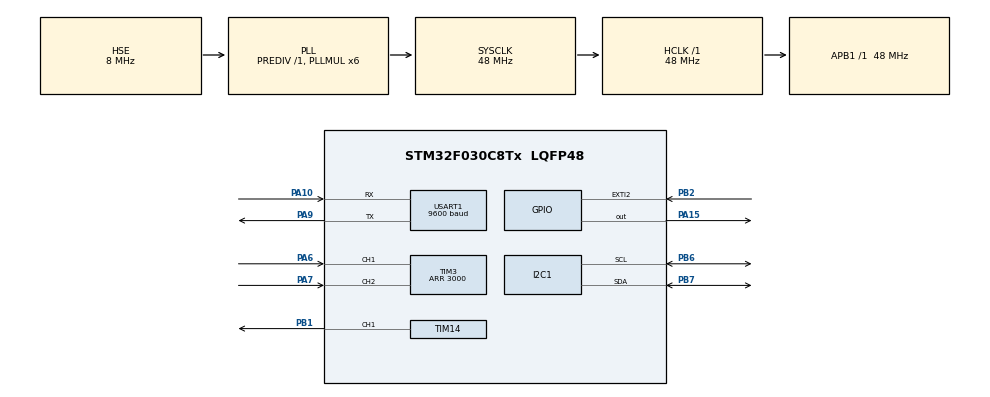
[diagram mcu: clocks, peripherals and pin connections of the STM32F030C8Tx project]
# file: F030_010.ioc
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FREERTOS.Tasks01=Encoder_change,0,128,Task_1_Enc,Default,NULL,Dynamic,NULL,NULL;Uart_change,-3,128,Task_2_uart,Default,NULL,Dynamic,NULL,NULL;Monitor,-3,128,Task_3_monitor,Default,NULL,Dynamic,NULL,NULL;AT_handler,-3,128,AT_HANDLER,Default,NULL,Dynamic,NULL,NULL;KlikKlack,-3,128,KLIK_KLACK,Default,NULL,Dynamic,NULL,NULL
FREERTOS.configTOTAL_HEAP_SIZE=3500
Mcu.Family=STM32F0
Mcu.Name=STM32F030C8Tx
Mcu.Package=LQFP48
NVIC.EXTI2_3_IRQn=true\:3\:0\:false\:false\:true\:true\:true\:true
NVIC.TIM1_BRK_UP_TRG_COM_IRQn=true\:0\:0\:false\:false\:true\:false\:false\:true
NVIC.TimeBase=TIM1_BRK_UP_TRG_COM_IRQn
NVIC.TimeBaseIP=TIM1
NVIC.USART1_IRQn=true\:3\:0\:false\:false\:true\:true\:true\:true
PA10.Mode=Asynchronous
PA10.Signal=USART1_RX
PA13.Mode=Serial_Wire
PA13.Signal=SYS_SWDIO
PA14.Mode=Serial_Wire
PA14.Signal=SYS_SWCLK
PA15.Signal=GPIO_Output
PA6.Signal=S_TIM3_CH1
PA7.Signal=S_TIM3_CH2
PA9.Mode=Asynchronous
PA9.Signal=USART1_TX
PB1.Signal=S_TIM14_CH1
PB2.GPIO_ModeDefaultEXTI=GPIO_MODE_IT_RISING
PB2.Signal=GPXTI2
PB6.Mode=I2C
PB6.Signal=I2C1_SCL
PB7.Mode=I2C
PB7.Signal=I2C1_SDA
PF0-OSC_IN.Mode=HSE-External-Oscillator
PF0-OSC_IN.Signal=RCC_OSC_IN
PF1-OSC_OUT.Mode=HSE-External-Oscillator
PF1-OSC_OUT.Signal=RCC_OSC_OUT
ProjectManager.HeapSize=0x200
ProjectManager.StackSize=0x400
ProjectManager.TargetToolchain=EWARM V8.32
RCC.AHBFreq_Value=48000000
RCC.APB1Freq_Value=48000000
RCC.APB1TimFreq_Value=48000000
RCC.HCLKFreq_Value=48000000
RCC.PLLMUL=RCC_PLL_MUL6
RCC.PLLSourceVirtual=RCC_PLLSOURCE_HSE
RCC.SYSCLKFreq_VALUE=48000000
RCC.SYSCLKSource=RCC_SYSCLKSOURCE_PLLCLK
SH.S_TIM14_CH1.0=TIM14_CH1,PWM Generation1 CH1
SH.S_TIM3_CH1.0=TIM3_CH1,Encoder_Interface
SH.S_TIM3_CH2.0=TIM3_CH2,Encoder_Interface
TIM14.Channel=TIM_CHANNEL_1
TIM14.Period=3000
TIM3.EncoderMode=TIM_ENCODERMODE_TI12
TIM3.IC1Polarity=TIM_ICPOLARITY_FALLING
TIM3.Period=3000
USART1.BaudRate=9600
USART1.VirtualMode-Asynchronous=VM_ASYNC
VP_FREERTOS_VS_CMSIS_V1.Mode=CMSIS_V1
VP_SYS_VS_tim1.Mode=TIM1
VP_TIM14_VS_ClockSourceINT.Mode=Enable_Timer
board=custom

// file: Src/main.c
/* USER CODE BEGIN Header */
/**
  ******************************************************************************
  * @file           : main.c
  * @brief          : Main program body
  ******************************************************************************
  * @attention
  *
  * <h2><center>&copy; Copyright (c) 2020 STMicroelectronics.
  * All rights reserved.</center></h2>
  *
  * This software component is licensed by ST under BSD 3-Clause license,
  * the "License"; You may not use this file except in compliance with the
  * License. You may obtain a copy of the License at:
  *                        opensource.org/licenses/BSD-3-Clause
  *
  ******************************************************************************
  */
/* USER CODE END Header */

#include "main.h"
#include "cmsis_os.h"
#include "i2c.h"
#include "tim.h"
#include "usart.h"
#include "gpio.h"

void SystemClock_Config(void);
void MX_FREERTOS_Init(void);

int main(void)
{

  /* MCU Configuration--------------------------------------------------------*/

  /* Reset of all peripherals, Initializes the Flash interface and the Systick. */
  HAL_Init();

  /* Configure the system clock */
  SystemClock_Config();

  /* Initialize all configured peripherals */
  MX_GPIO_Init();
  MX_TIM14_Init();
  MX_TIM3_Init();
  MX_USART1_UART_Init();
  MX_I2C1_Init();
  /* USER CODE BEGIN 2 */
 HAL_Delay(100);
 OLED_init();
  /* USER CODE END 2 */

  /* Call init function for freertos objects (in freertos.c) */
  MX_FREERTOS_Init();

  /* Start scheduler */
  osKernelStart();

  /* We should never get here as control is now taken by the scheduler */

  /* Infinite loop */
  while (1)
  {
   }

}

void SystemClock_Config(void)
{
  RCC_OscInitTypeDef RCC_OscInitStruct = {0};
  RCC_ClkInitTypeDef RCC_ClkInitStruct = {0};
  RCC_PeriphCLKInitTypeDef PeriphClkInit = {0};

  /** Initializes the CPU, AHB and APB busses clocks
  */
  RCC_OscInitStruct.OscillatorType = RCC_OSCILLATORTYPE_HSI|RCC_OSCILLATORTYPE_HSE;
  RCC_OscInitStruct.HSEState = RCC_HSE_ON;
  RCC_OscInitStruct.HSIState = RCC_HSI_ON;
  RCC_OscInitStruct.HSICalibrationValue = RCC_HSICALIBRATION_DEFAULT;
  RCC_OscInitStruct.PLL.PLLState = RCC_PLL_ON;
  RCC_OscInitStruct.PLL.PLLSource = RCC_PLLSOURCE_HSE;
  RCC_OscInitStruct.PLL.PLLMUL = RCC_PLL_MUL6;
  RCC_OscInitStruct.PLL.PREDIV = RCC_PREDIV_DIV1;
  if (HAL_RCC_OscConfig(&RCC_OscInitStruct) != HAL_OK)
  {
    Error_Handler();
  }
  /** Initializes the CPU, AHB and APB busses clocks
  */
  RCC_ClkInitStruct.ClockType = RCC_CLOCKTYPE_HCLK|RCC_CLOCKTYPE_SYSCLK
                              |RCC_CLOCKTYPE_PCLK1;
  RCC_ClkInitStruct.SYSCLKSource = RCC_SYSCLKSOURCE_PLLCLK;
  RCC_ClkInitStruct.AHBCLKDivider = RCC_SYSCLK_DIV1;
  RCC_ClkInitStruct.APB1CLKDivider = RCC_HCLK_DIV1;

  if (HAL_RCC_ClockConfig(&RCC_ClkInitStruct, FLASH_LATENCY_1) != HAL_OK)
  {
    Error_Handler();
  }
  PeriphClkInit.PeriphClockSelection = RCC_PERIPHCLK_USART1|RCC_PERIPHCLK_I2C1;
  PeriphClkInit.Usart1ClockSelection = RCC_USART1CLKSOURCE_PCLK1;
  PeriphClkInit.I2c1ClockSelection = RCC_I2C1CLKSOURCE_HSI;
  if (HAL_RCCEx_PeriphCLKConfig(&PeriphClkInit) != HAL_OK)
  {
    Error_Handler();
  }
}

void HAL_TIM_PeriodElapsedCallback(TIM_HandleTypeDef *htim)
{
  if (htim->Instance == TIM1) {
    HAL_IncTick();
  }
}

void Error_Handler(void)
{
}

/************************ (C) COPYRIGHT STMicroelectronics *****END OF FILE****/

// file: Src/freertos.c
/* USER CODE BEGIN Header */
/**
  ******************************************************************************
  * File Name          : freertos.c
  * Description        : Code for freertos applications
  ******************************************************************************
  * @attention
  *
  * <h2><center>&copy; Copyright (c) 2020 STMicroelectronics.
  * All rights reserved.</center></h2>
  *
  * This software component is licensed by ST under Ultimate Liberty license
  * SLA0044, the "License"; You may not use this file except in compliance with
  * the License. You may obtain a copy of the License at:
  *                             www.st.com/SLA0044
  *
  ******************************************************************************
  */
/* USER CODE END Header */

#include "FreeRTOS.h"
#include "task.h"
#include "main.h"
#include "cmsis_os.h"

/* USER CODE BEGIN Includes */
#include "i2c.h"
#include "tim.h"
#include "usart.h"
#include "gpio.h"
#include "1306_32.h"
#include <string.h>
#include <stdio.h>
#include "flash_setings.h"
#include <stdlib.h>
#include <stdbool.h>

/* USER CODE END Includes */

/* USER CODE BEGIN PTD */
osMessageQId RecQHandle;

#ifdef __GNUC__
/* With GCC, small printf (option LD Linker->Libraries->Small printf
   set to 'Yes') calls __io_putchar() */
#define PUTCHAR_PROTOTYPE int __io_putchar(int ch)
#else
#define PUTCHAR_PROTOTYPE int fputc(int ch, FILE *f)
#endif /* __GNUC__ */

/* USER CODE END PTD */

/* USER CODE BEGIN PD */
uint8_t b1;
uint8_t b2;
char g_buffer[257];
uint8_t data_i = 0;

typedef struct {
	uint8_t usart;
	uint8_t byte;
} myMes;

portBASE_TYPE           xHigherPriorityTaskWoken = pdFALSE;

void HAL_UART_RxCpltCallback(UART_HandleTypeDef *UartHandle)
{
        myMes m;
        m.usart=1;
        m.byte=b1;
        xQueueSendFromISR( RecQHandle, &m, &xHigherPriorityTaskWoken );
        HAL_UART_Receive_IT(&huart1, &b1,1);

}

bool boottonPress=false;
bool yesFlag=true;
/* USER CODE END PD */

/* USER CODE BEGIN Variables */
uint16_t capture=0;
uint8_t r202_out[8]={0xff,0xff,0xff,0xff,0xff,0xff,0xff,0xff};
extern ESettings Settings;

/* USER CODE END Variables */
osThreadId Encoder_changeHandle;
osThreadId Uart_changeHandle;
osThreadId MonitorHandle;
osThreadId AT_handlerHandle;
osThreadId KlikKlackHandle;

void Task_1_Enc(void const * argument);
void Task_2_uart(void const * argument);
void Task_3_monitor(void const * argument);
void AT_HANDLER(void const * argument);
void KLIK_KLACK(void const * argument);

void MX_FREERTOS_Init(void); /* (MISRA C 2004 rule 8.1) */

/* GetIdleTaskMemory prototype (linked to static allocation support) */
void vApplicationGetIdleTaskMemory( StaticTask_t **ppxIdleTaskTCBBuffer, StackType_t **ppxIdleTaskStackBuffer, uint32_t *pulIdleTaskStackSize );

/* USER CODE BEGIN GET_IDLE_TASK_MEMORY */
static StaticTask_t xIdleTaskTCBBuffer;
static StackType_t xIdleStack[configMINIMAL_STACK_SIZE];

void vApplicationGetIdleTaskMemory( StaticTask_t **ppxIdleTaskTCBBuffer, StackType_t **ppxIdleTaskStackBuffer, uint32_t *pulIdleTaskStackSize )
{
  *ppxIdleTaskTCBBuffer = &xIdleTaskTCBBuffer;
  *ppxIdleTaskStackBuffer = &xIdleStack[0];
  *pulIdleTaskStackSize = configMINIMAL_STACK_SIZE;
  /* place for user code */
}
/* USER CODE END GET_IDLE_TASK_MEMORY */

void MX_FREERTOS_Init(void) {

  /* USER CODE BEGIN RTOS_QUEUES */
   osMessageQDef(RecQ, 32, 2);
   RecQHandle = osMessageCreate(osMessageQ(RecQ), NULL);
  /* USER CODE END RTOS_QUEUES */

  /* Create the thread(s) */
  /* definition and creation of Encoder_change */
  osThreadDef(Encoder_change, Task_1_Enc, osPriorityNormal, 0, 128);
  Encoder_changeHandle = osThreadCreate(osThread(Encoder_change), NULL);

  /* definition and creation of Uart_change */
  osThreadDef(Uart_change, Task_2_uart, osPriorityIdle, 0, 128);
  Uart_changeHandle = osThreadCreate(osThread(Uart_change), NULL);

  /* definition and creation of Monitor */
  osThreadDef(Monitor, Task_3_monitor, osPriorityIdle, 0, 128);
  MonitorHandle = osThreadCreate(osThread(Monitor), NULL);

  /* definition and creation of AT_handler */
  osThreadDef(AT_handler, AT_HANDLER, osPriorityIdle, 0, 128);
  AT_handlerHandle = osThreadCreate(osThread(AT_handler), NULL);

  /* definition and creation of KlikKlack */
  osThreadDef(KlikKlack, KLIK_KLACK, osPriorityIdle, 0, 128);
  KlikKlackHandle = osThreadCreate(osThread(KlikKlack), NULL);

}

uint16_t captureOld=0;
uint16_t test_volt=0;
void Task_1_Enc(void const * argument)
{
  /* USER CODE BEGIN Task_1_Enc */
HAL_TIM_PWM_Start_IT(&htim14, TIM_CHANNEL_1);
HAL_TIM_Encoder_Start(&htim3, TIM_CHANNEL_ALL);
if(CheckEEprom()) restoreSettings();
TIM3->CNT=Settings.DefPrest.AdrData.data/Settings.Speed.AdrData.data;
  /* Infinite loop */
  for(;;)
  {
   capture=TIM3->CNT;

 if(captureOld!=capture)
 {
   if(capture>=2999)
   {
   TIM3->CNT=0;
   capture=0;
   }
   else if(capture* Settings.Speed.AdrData.data>Settings.Scale.AdrData.data)
   {
    TIM3->CNT=Settings.Scale.AdrData.data/Settings.Speed.AdrData.data;
   }
   else
   {
   capture=TIM3->CNT* Settings.Speed.AdrData.data;
   TIM14->CCR1= capture;
   test_volt=capture;
   }
 }
   captureOld=TIM3->CNT;

  // if(capture>Settings.Scale.AdrData.data){TIM3->CNT=0;capture=0;}

   osDelay(1);
  }
  /* USER CODE END Task_1_Enc */
}

void Task_2_uart(void const * argument)
{
  /* USER CODE BEGIN Task_2_uart */
  /* Infinite loop */

  for(;;)
  {
  if(HAL_UART_Receive_IT(&huart1, &b1,1)==HAL_OK)
  osDelay(1);
  }
  /* USER CODE END Task_2_uart */
}

void Task_3_monitor(void const * argument)
{
  /* USER CODE BEGIN Task_3_monitor */
    LCD_Clear();
  /* Infinite loop */
  for(;;)
  {
        osDelay(1000/portTICK_RATE_MS);
        HAL_GPIO_TogglePin(GPIOA, GPIO_PIN_15);
        LCD_Goto(0,0);
        OLED_string("Encoder:");
        LCD_Goto(72,0);
        OLED_num_to_str(capture,4);
        LCD_Goto(0,1);
        OLED_string("Voltage[mV]:");
        LCD_Goto(72,1);
        OLED_num_to_str((int)capture*3.32,4);

  }
  /* USER CODE END Task_3_monitor */
}

/* USER CODE BEGIN Header_AT_HANDLER */

int parse_args(char* str, char* argv[])
{
    int i = 0;
    char* ch = str;

    while(*ch != '\0') {
        i++;
        /*Check if length exceeds*/
        if (i > 3) {
            return 0;
        }

        argv[i-1] = ch;

        while(*ch != '=' && *ch != '\0' && *ch != '\r') {
                ch++;
        }
        if (*ch == '\r')
            break;

        if (*ch != '\0') {
            *ch = '\0';
			//printf("parm: i=%d, %s \r\n", i-1, argv[i-1]);
            ch++;
            while(*ch == '=') {
                ch++;
            }
        }
    }
    return i;
}

int chack_data(char* str)
{
LCD_Clear();
LCD_Goto(0,2);
OLED_string(str);
   int argc;
  	char *argv[2]={NULL};
	argc = parse_args(str, argv);

	if (argc == 2){
		//printf("%s\r\n",argv[0]);
		//printf("%s\r\n",argv[1]);
		char *buffer = argv[1];

		if (0 == strcmp(argv[0],"at+preset1")){
			if (strlen(buffer) > 2) {
		          Settings.Preset1.AdrData.data=(uint16_t)atoi(buffer);
                          SaveSettings();
                          printf("Preset 1 is:%d\r\n",Settings.Preset1.AdrData.data);
			} else {
				return 1;
			}
		} else if (0 == strcmp(argv[0],"at+preset2")){
			if (strlen(buffer) > 2) {
		          Settings.Preset2.AdrData.data=(uint16_t)atoi(buffer);
                          SaveSettings();
                          printf("Preset 2 is:%d\r\n",Settings.Preset2.AdrData.data);
			} else {
				return 1;
			}
		} else if (0 == strcmp(argv[0],"at+preset3")){
			if (strlen(buffer) > 2) {
		          Settings.Preset3.AdrData.data=(uint16_t)atoi(buffer);
                          SaveSettings();
                          printf("Preset 3 is:%d\r\n",Settings.Preset3.AdrData.data);
			} else  {
				return 1;
			}
		} else if (0 == strcmp(argv[0],"at+preset4")){
			if (strlen(buffer) > 2) {
		          Settings.Preset4.AdrData.data=(uint16_t)atoi(buffer);
                          SaveSettings();
                          printf("Preset 4 is:%d\r\n",Settings.Preset4.AdrData.data);
			} else {
				return 1;
			}
		} else if (0 == strcmp(argv[0],"at+preset5")){
			if (strlen(buffer) > 2) {
		          Settings.Preset5.AdrData.data=(uint16_t)atoi(buffer);
                          SaveSettings();
                          printf("Preset 5 is:%d\r\n",Settings.Preset5.AdrData.data);
			} else {
				return 1;
			}
	} else if (0 == strcmp(argv[0],"at+defpreset")){
			if (strlen(buffer) > 2) {
		          Settings.DefPrest.AdrData.data=(uint16_t)atoi(buffer);
                          SaveSettings();
                          printf("DefPreset is:%d\r\n",Settings.DefPrest.AdrData.data);
			} else {
				return 1;
			}
		} else if (0 == strcmp(argv[0],"at+scale")){
			if (strlen(buffer) >2) {
		          Settings.Scale.AdrData.data=(uint16_t)atoi(buffer);
                          SaveSettings();
                          printf("Scale is:%d\r\n",Settings.Scale.AdrData.data);
			} else {
				return 1;
			}
		}else if (0 == strcmp(argv[0],"at+speed")){
			if (strlen(buffer) == 1) {
		          Settings.Speed.AdrData.data=(uint16_t)atoi(buffer);
                          SaveSettings();
                          printf("Speed is:%d\r\n",Settings.Speed.AdrData.data);
			} else {
				return 1;
			}
		}
         else if (0 == strcmp(argv[0],"at+manual")){
			if (strlen(buffer) > 2) {
		         TIM3->CNT=(uint16_t)atoi(buffer)/Settings.Speed.AdrData.data;
                          printf("Manual is:%d\r\n",TIM3->CNT*Settings.Speed.AdrData.data);
			} else {
				return 1;
			}
		}else if (0 == strcmp(argv[0],"at+factory")){
			if (strlen(buffer) > 0) {
                        DeffSettins();
		        printf("Factory Reset!\r\n");
			} else {
				return 1;
			}
		} else {
			return 1;
		}
		return 0;
	}
	return 1;
}
/**

* @brief Function implementing the AT_handler thread.
* @param argument: Not used
* @retval None
*/
/* USER CODE END Header_AT_HANDLER */
void AT_HANDLER(void const * argument)
{
  /* USER CODE BEGIN AT_HANDLER */
  myMes w;
  uint8_t data = '\0';

  /* Infinite loop */
  for(;;)
  {
   xQueueReceive( RecQHandle, &w, portMAX_DELAY );
   data=w.byte;
   if ( data != '\0' && data != 0xFF)
	{
		g_buffer[data_i] = data;

		if (data == '\r') {
        g_buffer[data_i] = '\0';
          		}
		data_i++;
	}

    if (data == '\n') {

       // printf("%s\r\n",g_buffer);
         data_i = 0;
        if (chack_data(g_buffer) == 0){

			printf("OK\r\n");

		} else {
			printf("ERROR\r\n");

               }

    }

    osDelay(1);
  }
  /* USER CODE END AT_HANDLER */
}

/* USER CODE BEGIN Header_KLIK_KLACK */

void HAL_GPIO_EXTI_Callback(uint16_t GPIO_Pin)
{

if(GPIO_Pin==  GPIO_PIN_2)
{

  if(boottonPress==false)
  {
  boottonPress=true;
  //printf("PRESS\r\n");
  }
}
}
/**
* @brief Function implementing the KlikKlack thread.
* @param argument: Not used
* @retval None
*/
/* USER CODE END Header_KLIK_KLACK */
void KLIK_KLACK(void const * argument)
{
  /* USER CODE BEGIN KLIK_KLACK */
uint8_t swCount=0;
  /* Infinite loop */
  for(;;)
  {

   if(boottonPress)
   {
    boottonPress=false;
   swCount++;
    if( swCount>5)swCount=1;
     switch (swCount) {
        case 1:
        TIM3->CNT=Settings.Preset1.AdrData.data/Settings.Speed.AdrData.data;
        printf("Press 1. Activated is:%d \r\n",Settings.Preset1.AdrData.data);
        break;
        case 2:
        TIM3->CNT=Settings.Preset2.AdrData.data/Settings.Speed.AdrData.data;
        printf("Press 2. Activated is:%d \r\n",Settings.Preset2.AdrData.data);
        break;
        case 3:
        TIM3->CNT=Settings.Preset3.AdrData.data/Settings.Speed.AdrData.data;
        printf("Press 3. Activated is:%d \r\n",Settings.Preset3.AdrData.data/Settings.Speed.AdrData.data);
        break;
        case 4:
        TIM3->CNT=Settings.Preset4.AdrData.data/Settings.Speed.AdrData.data;
        printf("Press 4. Activated is:%d \r\n",Settings.Preset4.AdrData.data/Settings.Speed.AdrData.data);
        break;
        case 5:
        TIM3->CNT=Settings.Preset5.AdrData.data/Settings.Speed.AdrData.data;
        printf("Press 5. Activated is:%d \r\n",Settings.Preset5.AdrData.data/Settings.Speed.AdrData.data);
        break;

        default:

        break;
}

   }
   osDelay(500/portTICK_RATE_MS);
  }
  /* USER CODE END KLIK_KLACK */
}

/* USER CODE BEGIN Application */
     PUTCHAR_PROTOTYPE
{
  /* Place your implementation of fputc here */
  /* e.g. write a character to the USART2 and Loop until the end of transmission */
  HAL_UART_Transmit(&huart1, (uint8_t *)&ch, 1, 0xFFFF);

  return ch;
}
/* USER CODE END Application */

/************************ (C) COPYRIGHT STMicroelectronics *****END OF FILE****/
